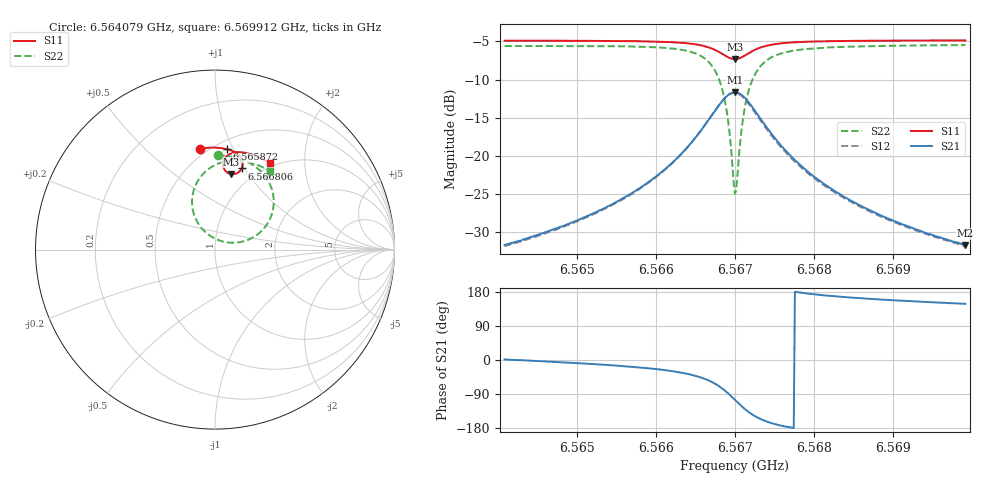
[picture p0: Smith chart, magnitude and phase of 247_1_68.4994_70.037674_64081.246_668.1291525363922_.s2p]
#  HZ  S  RI  R  50.00
! Rohde & Schwarz Vector Network Analyzer
! Rohde-Schwarz,ZNB20-2Port,1311601062101988,3.16
! Created: UTC 3/20/2024, 4:59:41 PM
! freq[Hz]  re:S11  im:S11  re:S21  im:S21  re:S12  im:S12  re:S22  im:S22
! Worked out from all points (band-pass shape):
!   401 points, 6.564079 GHz to 6.569912 GHz, reference 50 ohm
!   highest |S21| = -11.65 dB at 6.566995 GHz (marker M1); lowest = -31.7 dB at 6.569912 GHz (marker M2)
!   |S21| within 3 dB of the highest: 6.566703 GHz to 6.567287 GHz (583.5 kHz wide, 0.00888 % of centre)
!   lowest |S11| = -7.3 dB at 6.566995 GHz (marker M3), VSWR 2.51, Z = 40.3 + j41.7 ohm
!   |S11| at or under -10 dB: nowhere
!   |S22| runs from -25.0 to -5.5 dB; largest |S21 - S12| = 0.012
!   S11 on the Smith chart (normalised r, x): 6.564079 GHz: 0.45, +0.75; 6.565872 GHz: 0.58, +0.95; 6.566806 GHz: 0.83, +0.97; 6.569912 GHz: 0.94, +1.35
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6.5640789e9  -0.0841 0.5628  0.0261 0.000683  0.0257 0.000177  0.0146 0.5249
6.5650559e9  -0.00509 0.568  0.0384 -0.0061  0.0379 -0.00665  0.104 0.5147
6.5658725e9  0.0684 0.559  0.0615 -0.0238  0.0605 -0.0247  0.2016 0.4773
6.5660329e9  0.0846 0.5542  0.0689 -0.0319  0.0679 -0.0327  0.2266 0.461
6.5663391e9  0.1182 0.5375  0.0878 -0.0599  0.0865 -0.0612  0.2819 0.4055
6.5665578e9  0.1431 0.512  0.1015 -0.104  0.0993 -0.106  0.3213 0.3204
6.5667036e9  0.1535 0.4816  0.0976 -0.1573  0.0939 -0.1601  0.3224 0.2187
6.5668057e9  0.1484 0.4523  0.0718 -0.2073  0.0653 -0.2102  0.2779 0.1244
6.5668932e9  0.1282 0.4287  0.0203 -0.2461  0.0107 -0.2467  0.1843 0.0544
6.5669224e9  0.1178 0.4235  -0.00344 -0.2537  -0.0136 -0.2528  0.1415 0.0421
6.5669661e9  0.1 0.42  -0.0426 -0.2568  -0.0534 -0.2532  0.0718 0.0397
6.5669953e9  0.0876 0.4212  -0.0694 -0.252  -0.0797 -0.2467  0.0254 0.0505
6.5670244e9  0.0758 0.4252  -0.0944 -0.2425  -0.1039 -0.2352  -0.0173 0.0704
6.5670828e9  0.057 0.44  -0.1353 -0.2108  -0.1419 -0.2012  -0.0839 0.1309
6.5671265e9  0.0486 0.4547  -0.1551 -0.1811  -0.1591 -0.171  -0.1133 0.185
6.5671848e9  0.045 0.4748  -0.1674 -0.1415  -0.1686 -0.1318  -0.1278 0.2553
6.5672577e9  0.0491 0.4962  -0.167 -0.0992  -0.1661 -0.0912  -0.1192 0.3287
6.5675202e9  0.088 0.5348  -0.1252 -0.0216  -0.1225 -0.018  -0.0238 0.4576
6.5679723e9  0.1466 0.5423  -0.0745 0.00803  -0.0727 0.00911  0.0961 0.4967
6.5683806e9  0.1869 0.5352  -0.0522 0.0129  -0.0511 0.0136  0.1612 0.4931
6.5689493e9  0.2343 0.5191  -0.0359 0.0144  -0.0351 0.0145  0.2253 0.4761
6.5699117e9  0.3037 0.4836  -0.0222 0.0137  -0.0217 0.0138  0.3053 0.4368
